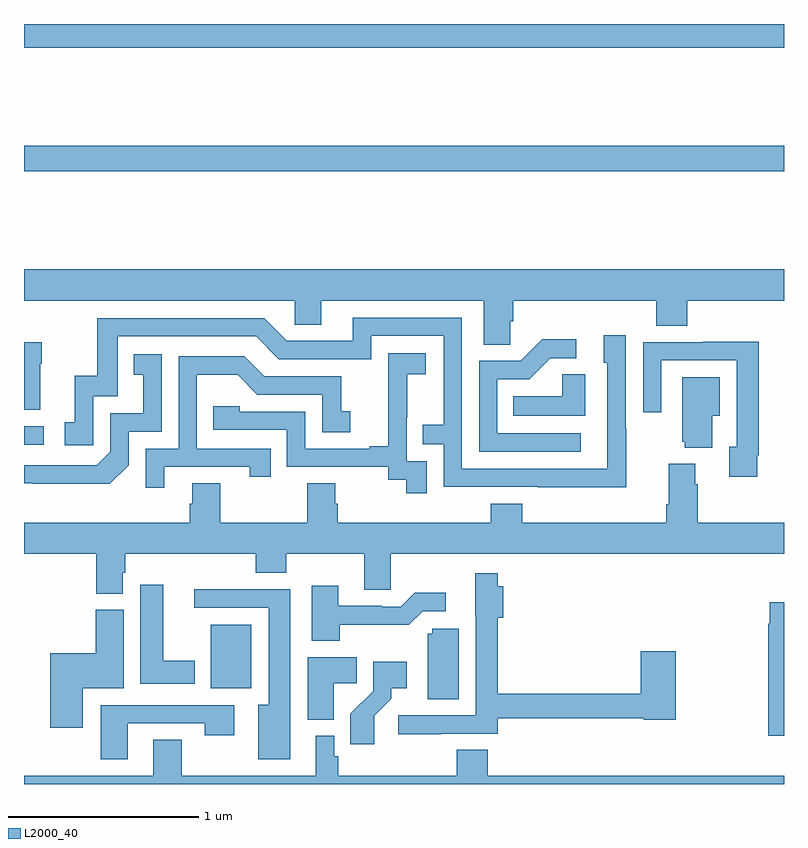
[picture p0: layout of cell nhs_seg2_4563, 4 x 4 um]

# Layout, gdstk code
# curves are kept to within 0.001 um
import gdstk
lib = gdstk.Library(unit=1e-6, precision=1e-09)
def R(c, l, rs):  # rectangles x0, y0, x1, y1
    for r in rs: c.add(gdstk.rectangle(r[:2], r[2:], *l))
def P(c, l, *ps):  # polygons
    for p in ps: c.add(gdstk.Polygon(p, *l))
L2000_40 = (2000, 40)

nhs_seg2_4563 = lib.new_cell('nhs_seg2_4563')
R(nhs_seg2_4563, L2000_40, [(359.984,604.304,360.196,604.639), (359,605.586,359.104,605.682), (359,607.024,363,607.16), (359,607.676,363,607.8)])
P(nhs_seg2_4563, L2000_40, [(361.56,606.235),(361.574,606.235),(361.574,606.344),(362.327,606.344),(362.327,606.211),(362.492,606.211),(362.492,606.344),(363,606.344),(363,606.508),(359,606.508),(359,606.344),(360.426,606.344),(360.426,606.217),(360.565,606.217),(360.565,606.344),(361.421,606.344),(361.421,606.112),(361.56,606.112)],
  [(362.169,605.669),(362.166,605.669),(362.166,606.163),(362.051,606.163),(362.051,606.018),(362.07,606.018),(362.07,605.46),(361.305,605.46),(361.305,606.255),(360.731,606.255),(360.731,606.132),(360.384,606.132),(360.264,606.252),(359.385,606.252),(359.385,605.95),(359.267,605.95),(359.267,605.703),(359.214,605.703),(359.214,605.583),(359.364,605.583),(359.364,605.841),(359.493,605.841),(359.493,606.156),(360.222,606.156),(360.342,606.036),(360.828,606.036),(360.828,606.159),(361.209,606.159),(361.209,605.69),(361.099,605.69),(361.099,605.589),(361.209,605.589),(361.209,605.364),(362.169,605.363)],
  [(361.93,605.646),(361.491,605.646),(361.491,605.931),(361.66,605.931),(361.771,606.042),(361.906,606.042),(361.906,606.14),(361.727,606.14),(361.614,606.027),(361.395,606.027),(361.395,605.55),(361.93,605.55)],
  [(362.86,605.53),(362.867,605.53),(362.867,606.128),(362.575,606.128),(362.575,606.126),(362.259,606.126),(362.259,605.757),(362.355,605.757),(362.355,606.03),(362.751,606.03),(362.751,605.574),(362.711,605.574),(362.711,605.418),(362.86,605.418)],
  [(359.086,606.011),(359.094,606.011),(359.094,606.124),(359,606.124),(359,605.771),(359.086,605.771)],
  [(361.119,605.499),(361.014,605.499),(361.014,605.729),(361.016,605.729),(361.016,605.957),(361.114,605.957),(361.114,606.067),(360.916,606.067),(360.916,605.861),(360.917,605.861),(360.917,605.578),(360.821,605.578),(360.821,605.565),(360.48,605.565),(360.48,605.76),(360.135,605.76),(360.135,605.787),(359.995,605.787),(359.995,605.664),(360.384,605.664),(360.384,605.469),(360.918,605.469),(360.918,605.401),(361.011,605.401),(361.011,605.331),(361.119,605.331)],
  [(359.55,605.478),(359.55,605.655),(359.724,605.655),(359.724,606.061),(359.578,606.061),(359.578,605.955),(359.627,605.955),(359.627,605.751),(359.454,605.751),(359.454,605.55),(359.382,605.478),(359,605.478),(359,605.382),(359.044,605.381),(359.452,605.381)],
  [(359.737,605.469),(360.188,605.469),(360.188,605.418),(360.299,605.418),(360.299,605.565),(359.91,605.565),(359.91,605.954),(360.124,605.954),(360.228,605.85),(360.57,605.85),(360.57,605.652),(360.718,605.652),(360.718,605.761),(360.669,605.761),(360.669,605.946),(360.265,605.946),(360.16,606.051),(359.814,606.051),(359.814,605.565),(359.64,605.565),(359.64,605.358),(359.737,605.358)],
  [(361.954,605.957),(361.833,605.957),(361.833,605.842),(361.576,605.842),(361.576,605.738),(361.954,605.738)],
  [(362.623,605.738),(362.662,605.738),(362.662,605.941),(362.465,605.941),(362.465,605.601),(362.477,605.601),(362.477,605.57),(362.623,605.57)],
  [(363,605.176),(362.546,605.176),(362.546,605.378),(362.533,605.378),(362.533,605.485),(362.393,605.485),(362.393,605.272),(362.381,605.272),(362.381,605.176),(361.622,605.176),(361.622,605.275),(361.457,605.275),(361.457,605.176),(360.65,605.176),(360.65,605.274),(360.637,605.274),(360.637,605.384),(360.49,605.384),(360.49,605.176),(360.033,605.176),(360.033,605.384),(359.885,605.384),(359.885,605.274),(359.873,605.274),(359.873,605.176),(359,605.176),(359,605.012),(359.381,605.012),(359.381,604.801),(359.521,604.801),(359.521,604.911),(359.534,604.911),(359.534,605.012),(360.221,605.012),(360.221,604.913),(360.381,604.913),(360.381,605.012),(360.791,605.012),(360.791,604.822),(360.93,604.822),(360.93,605.012),(363,605.012)],
  [(361.193,604.065),(361.493,604.065),(361.493,604.146),(362.262,604.146),(362.262,604.138),(362.429,604.138),(362.429,604.498),(362.246,604.498),(362.246,604.274),(361.493,604.274),(361.493,604.675),(361.523,604.675),(361.523,604.84),(361.493,604.84),(361.493,604.909),(361.376,604.909),(361.376,604.686),(361.377,604.686),(361.377,604.161),(360.969,604.161),(360.969,604.063),(361.193,604.063)],
  [(359.899,604.45),(359.734,604.45),(359.734,604.849),(359.612,604.849),(359.612,604.328),(359.899,604.328)],
  [(360.663,604.638),(361.025,604.637),(361.098,604.71),(361.219,604.71),(361.219,604.807),(361.057,604.807),(360.984,604.734),(360.884,604.734),(360.884,604.737),(360.655,604.737),(360.655,604.843),(360.515,604.843),(360.515,604.553),(360.663,604.553)],
  [(360.4,604.826),(359.895,604.826),(359.895,604.728),(360.287,604.728),(360.287,604.216),(360.233,604.216),(360.233,603.93),(360.4,603.93)],
  [(363,604.756),(362.925,604.756),(362.925,604.643),(362.917,604.643),(362.917,604.055),(363,604.055)],
  [(359.308,604.304),(359.524,604.304),(359.524,604.716),(359.378,604.716),(359.378,604.489),(359.138,604.489),(359.138,604.095),(359.308,604.095)],
  [(361.288,604.617),(361.149,604.617),(361.149,604.59),(361.124,604.59),(361.124,604.246),(361.288,604.246)],
  [(360.631,604.33),(360.752,604.33),(360.752,604.468),(360.494,604.468),(360.494,604.139),(360.631,604.139)],
  [(360.844,604.159),(360.934,604.249),(360.934,604.304),(361.015,604.304),(361.015,604.444),(360.837,604.444),(360.837,604.289),(360.718,604.17),(360.718,604.008),(360.844,604.008)],
  [(359.545,604.119),(359.95,604.119),(359.95,604.056),(360.106,604.056),(360.106,604.215),(359.405,604.215),(359.405,603.93),(359.545,603.93)],
  [(363,603.844),(361.442,603.844),(361.442,603.98),(361.277,603.98),(361.277,603.844),(360.653,603.844),(360.653,603.945),(360.633,603.945),(360.633,604.054),(360.536,604.054),(360.536,603.844),(359.829,603.844),(359.829,604.034),(359.681,604.034),(359.681,603.844),(359,603.844),(359,603.8),(363,603.8)])

lib.write_gds('nhs_seg2_4563.gds')
